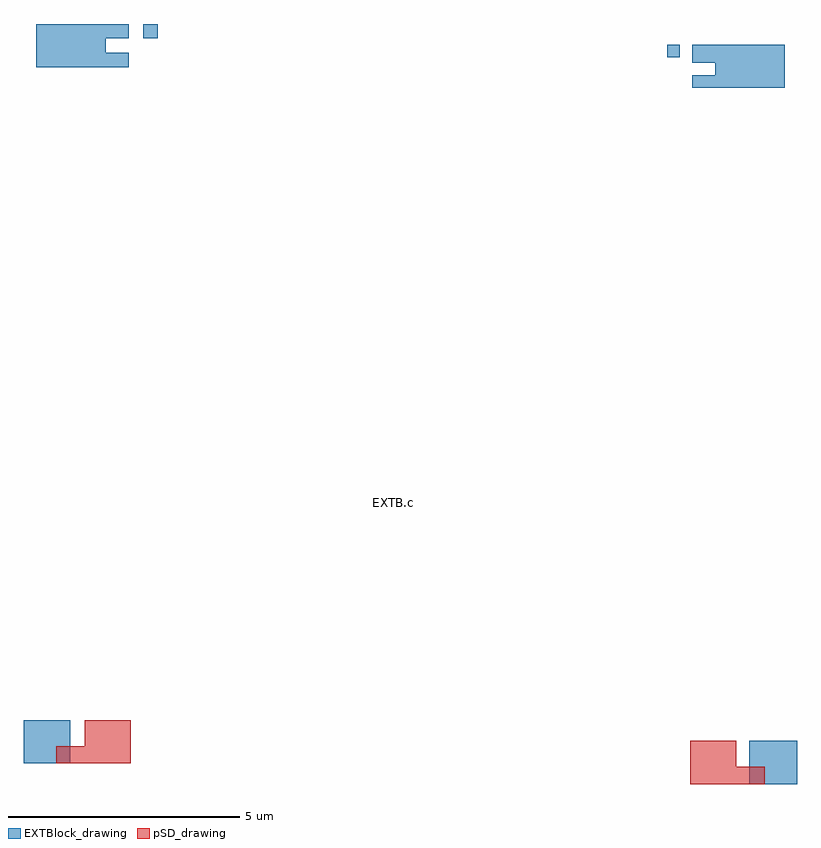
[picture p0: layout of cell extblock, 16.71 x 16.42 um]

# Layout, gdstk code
import gdstk
lib = gdstk.Library(unit=1e-6, precision=1e-09)
def R(c, l, rs):  # rectangles x0, y0, x1, y1
    for r in rs: c.add(gdstk.rectangle(r[:2], r[2:], *l))
def P(c, l, *ps):  # polygons
    for p in ps: c.add(gdstk.Polygon(p, *l))
pSD_drawing = (14, 0)
EXTBlock_drawing = (111, 0)

extblock = lib.new_cell('extblock')
R(extblock, pSD_drawing, [(6.405,-28.445,7.405,-27.515), (7.405,-28.445,8.015,-28.075), (-7.29,-28,-6.68,-27.63), (-6.68,-28,-5.68,-27.07)])
R(extblock, EXTBlock_drawing, [(7.68,-28.445,8.715,-27.515), (-7.99,-28,-6.99,-27.07), (5.905,-12.74,6.175,-12.47), (-5.41,-12.335,-5.1,-12.025)])
P(extblock, EXTBlock_drawing, [(6.445,-13.4),(6.445,-13.13),(6.945,-13.13),(6.945,-12.86),(6.445,-12.86),(6.445,-12.47),(8.445,-12.47),(8.445,-13.4)],
  [(-7.72,-12.955),(-7.72,-12.025),(-5.72,-12.025),(-5.72,-12.335),(-6.22,-12.335),(-6.22,-12.645),(-5.72,-12.645),(-5.72,-12.955)])
extblock.add(gdstk.Label('5.12 EXTBlock', (0,21), layer=63, texttype=0))
extblock.add(gdstk.Label('FAIL', (12,5), layer=63, texttype=0))
extblock.add(gdstk.Label('PASS', (-12,5), layer=63, texttype=0))
extblock.add(gdstk.Label('EXTB.c', (0,-22.355), layer=63, texttype=0))
extblock.add(gdstk.Label('EXTB.a/b', (0,-7.51), layer=63, texttype=0))

lib.write_gds('extblock.gds')
